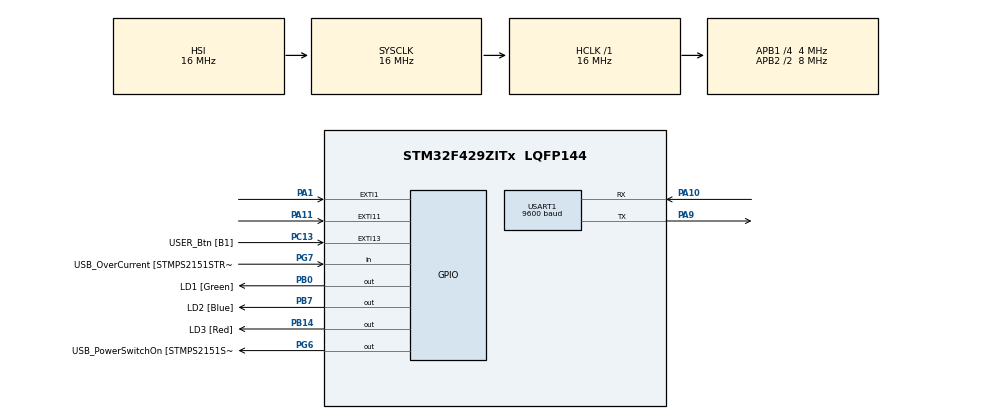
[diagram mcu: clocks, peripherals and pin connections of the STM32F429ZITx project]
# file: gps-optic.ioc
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Mcu.Family=STM32F4
Mcu.Name=STM32F429ZITx
Mcu.Package=LQFP144
NVIC.PriorityGroup=NVIC_PRIORITYGROUP_4
NVIC.USART1_IRQn=true\:0\:0\:false\:false\:true\:true\:true\:true
PA1.Signal=GPXTI1
PA10.Mode=Asynchronous
PA10.Signal=USART1_RX
PA11.Signal=GPXTI11
PA13.GPIO_Label=TMS
PA13.Mode=Serial_Wire
PA13.Signal=SYS_JTMS-SWDIO
PA14.GPIO_Label=TCK
PA14.Mode=Serial_Wire
PA14.Signal=SYS_JTCK-SWCLK
PA9.Mode=Asynchronous
PA9.Signal=USART1_TX
PB0.GPIO_Label=LD1 [Green]
PB0.Signal=GPIO_Output
PB14.GPIO_Label=LD3 [Red]
PB14.Signal=GPIO_Output
PB7.GPIO_Label=LD2 [Blue]
PB7.Signal=GPIO_Output
PC13.GPIO_Label=USER_Btn [B1]
PC13.Signal=GPXTI13
PC14/OSC32_IN.Mode=LSE-External-Oscillator
PC14/OSC32_IN.Signal=RCC_OSC32_IN
PC15/OSC32_OUT.Mode=LSE-External-Oscillator
PC15/OSC32_OUT.Signal=RCC_OSC32_OUT
PG6.GPIO_Label=USB_PowerSwitchOn [STMPS2151STR_EN]
PG6.Signal=GPIO_Output
PG7.GPIO_Label=USB_OverCurrent [STMPS2151STR_FAULT]
PG7.Signal=GPIO_Input
PH0/OSC_IN.GPIO_Label=MCO [STM32F103CBT6_PA8]
PH0/OSC_IN.Mode=HSE-External-Clock-Source
PH0/OSC_IN.Signal=RCC_OSC_IN
PH1/OSC_OUT.Mode=HSE-External-Clock-Source
PH1/OSC_OUT.Signal=RCC_OSC_OUT
ProjectManager.HeapSize=0x200
ProjectManager.StackSize=0x400
ProjectManager.TargetToolchain=STM32CubeIDE
RCC.48MHZClocksFreq_Value=48000000
RCC.AHBFreq_Value=16000000
RCC.APB1CLKDivider=RCC_HCLK_DIV4
RCC.APB1Freq_Value=4000000
RCC.APB1TimFreq_Value=8000000
RCC.APB2CLKDivider=RCC_HCLK_DIV2
RCC.APB2Freq_Value=8000000
RCC.APB2TimCLKDivider=2
RCC.APB2TimFreq_Value=16000000
RCC.CortexFreq_Value=16000000
RCC.HCLKFreq_Value=16000000
RCC.HSE_VALUE=8000000
RCC.HSI_VALUE=16000000
RCC.PLLM=4
RCC.PLLMUL=RCC_PLL_MUL9
RCC.PLLN=168
RCC.PLLQ=7
RCC.PLLSourceVirtual=RCC_PLLSOURCE_HSE
RCC.PRESCALERUSB=RCC_USBCLKSOURCE_PLL_DIV1_5
RCC.SYSCLKFreq_VALUE=16000000
RCC.SYSCLKSourceVirtual=RCC_SYSCLKSOURCE_PLLCLK
RCC.USBFreq_Value=48000000
RCC.VCOOutputFreq_Value=336000000
USART1.BaudRate=9600
USART1.VirtualMode=VM_ASYNC
board=NUCLEO-F429ZI

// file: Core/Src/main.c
/* USER CODE BEGIN Header */
/**
  ******************************************************************************
  * @file           : main.c
  * @brief          : Main program body
  ******************************************************************************
  * @attention
  *
  * Copyright (c) 2023 STMicroelectronics.
  * All rights reserved.
  *
  * This software is licensed under terms that can be found in the LICENSE file
  * in the root directory of this software component.
  * If no LICENSE file comes with this software, it is provided AS-IS.
  *
  ******************************************************************************
  */
/* USER CODE END Header */
#include "main.h"

/* USER CODE BEGIN Includes */
#include "lwgps/lwgps.h"
/* USER CODE END Includes */

UART_HandleTypeDef huart1;

void SystemClock_Config(void);
static void MX_GPIO_Init(void);
static void MX_USART1_UART_Init(void);

/* USER CODE BEGIN 0 */
lwgps_t gps;

uint8_t rx_buffer[128];
uint8_t rx_index = 0;
uint8_t rx_data = 0;

void HAL_UART_RxCpltCallback(UART_HandleTypeDef *huart)
{
	if(huart == &huart1) {
		if(rx_data != '\n' && rx_index < sizeof(rx_buffer)) {
			rx_buffer[rx_index++] = rx_data;
		} else {
			lwgps_process(&gps, rx_buffer, rx_index+1);
			rx_index = 0;
			rx_data = 0;
		}
		HAL_UART_Receive_IT(&huart1, &rx_data, 1);
	}
}
/* USER CODE END 0 */

int main(void)
{

  /* MCU Configuration--------------------------------------------------------*/

  /* Reset of all peripherals, Initializes the Flash interface and the Systick. */
  HAL_Init();

  /* Configure the system clock */
  SystemClock_Config();

  /* Initialize all configured peripherals */
  MX_GPIO_Init();
  MX_USART1_UART_Init();
  /* USER CODE BEGIN 2 */
  lwgps_init(&gps);
  HAL_UART_Receive_IT(&huart1, &rx_data, 1);
  /* USER CODE END 2 */

  /* Infinite loop */
  while (1)
  {

  }
}

void SystemClock_Config(void)
{
  RCC_OscInitTypeDef RCC_OscInitStruct = {0};
  RCC_ClkInitTypeDef RCC_ClkInitStruct = {0};

  /** Configure the main internal regulator output voltage
  */
  __HAL_RCC_PWR_CLK_ENABLE();
  __HAL_PWR_VOLTAGESCALING_CONFIG(PWR_REGULATOR_VOLTAGE_SCALE3);

  /** Initializes the RCC Oscillators according to the specified parameters
  * in the RCC_OscInitTypeDef structure.
  */
  RCC_OscInitStruct.OscillatorType = RCC_OSCILLATORTYPE_HSI;
  RCC_OscInitStruct.HSIState = RCC_HSI_ON;
  RCC_OscInitStruct.HSICalibrationValue = RCC_HSICALIBRATION_DEFAULT;
  RCC_OscInitStruct.PLL.PLLState = RCC_PLL_NONE;
  if (HAL_RCC_OscConfig(&RCC_OscInitStruct) != HAL_OK)
  {
    Error_Handler();
  }

  /** Initializes the CPU, AHB and APB buses clocks
  */
  RCC_ClkInitStruct.ClockType = RCC_CLOCKTYPE_HCLK|RCC_CLOCKTYPE_SYSCLK
                              |RCC_CLOCKTYPE_PCLK1|RCC_CLOCKTYPE_PCLK2;
  RCC_ClkInitStruct.SYSCLKSource = RCC_SYSCLKSOURCE_HSI;
  RCC_ClkInitStruct.AHBCLKDivider = RCC_SYSCLK_DIV1;
  RCC_ClkInitStruct.APB1CLKDivider = RCC_HCLK_DIV4;
  RCC_ClkInitStruct.APB2CLKDivider = RCC_HCLK_DIV2;

  if (HAL_RCC_ClockConfig(&RCC_ClkInitStruct, FLASH_LATENCY_0) != HAL_OK)
  {
    Error_Handler();
  }
}

static void MX_USART1_UART_Init(void)
{

  huart1.Instance = USART1;
  huart1.Init.BaudRate = 9600;
  huart1.Init.WordLength = UART_WORDLENGTH_8B;
  huart1.Init.StopBits = UART_STOPBITS_1;
  huart1.Init.Parity = UART_PARITY_NONE;
  huart1.Init.Mode = UART_MODE_TX_RX;
  huart1.Init.HwFlowCtl = UART_HWCONTROL_NONE;
  huart1.Init.OverSampling = UART_OVERSAMPLING_16;
  if (HAL_UART_Init(&huart1) != HAL_OK)
  {
    Error_Handler();
  }

}

static void MX_GPIO_Init(void)
{
  GPIO_InitTypeDef GPIO_InitStruct = {0};

  /* GPIO Ports Clock Enable */
  __HAL_RCC_GPIOC_CLK_ENABLE();
  __HAL_RCC_GPIOH_CLK_ENABLE();
  __HAL_RCC_GPIOA_CLK_ENABLE();
  __HAL_RCC_GPIOB_CLK_ENABLE();
  __HAL_RCC_GPIOG_CLK_ENABLE();

  /*Configure GPIO pin Output Level */
  HAL_GPIO_WritePin(GPIOB, LD1_Pin|LD3_Pin|LD2_Pin, GPIO_PIN_RESET);

  /*Configure GPIO pin Output Level */
  HAL_GPIO_WritePin(USB_PowerSwitchOn_GPIO_Port, USB_PowerSwitchOn_Pin, GPIO_PIN_RESET);

  /*Configure GPIO pin : USER_Btn_Pin */
  GPIO_InitStruct.Pin = USER_Btn_Pin;
  GPIO_InitStruct.Mode = GPIO_MODE_IT_RISING;
  GPIO_InitStruct.Pull = GPIO_NOPULL;
  HAL_GPIO_Init(USER_Btn_GPIO_Port, &GPIO_InitStruct);

  /*Configure GPIO pins : PA1 PA11 */
  GPIO_InitStruct.Pin = GPIO_PIN_1|GPIO_PIN_11;
  GPIO_InitStruct.Mode = GPIO_MODE_IT_RISING;
  GPIO_InitStruct.Pull = GPIO_NOPULL;
  HAL_GPIO_Init(GPIOA, &GPIO_InitStruct);

  /*Configure GPIO pins : LD1_Pin LD3_Pin LD2_Pin */
  GPIO_InitStruct.Pin = LD1_Pin|LD3_Pin|LD2_Pin;
  GPIO_InitStruct.Mode = GPIO_MODE_OUTPUT_PP;
  GPIO_InitStruct.Pull = GPIO_NOPULL;
  GPIO_InitStruct.Speed = GPIO_SPEED_FREQ_LOW;
  HAL_GPIO_Init(GPIOB, &GPIO_InitStruct);

  /*Configure GPIO pin : USB_PowerSwitchOn_Pin */
  GPIO_InitStruct.Pin = USB_PowerSwitchOn_Pin;
  GPIO_InitStruct.Mode = GPIO_MODE_OUTPUT_PP;
  GPIO_InitStruct.Pull = GPIO_NOPULL;
  GPIO_InitStruct.Speed = GPIO_SPEED_FREQ_LOW;
  HAL_GPIO_Init(USB_PowerSwitchOn_GPIO_Port, &GPIO_InitStruct);

  /*Configure GPIO pin : USB_OverCurrent_Pin */
  GPIO_InitStruct.Pin = USB_OverCurrent_Pin;
  GPIO_InitStruct.Mode = GPIO_MODE_INPUT;
  GPIO_InitStruct.Pull = GPIO_NOPULL;
  HAL_GPIO_Init(USB_OverCurrent_GPIO_Port, &GPIO_InitStruct);

}

void Error_Handler(void)
{
  __disable_irq();
  while (1)
  {
  }
}
